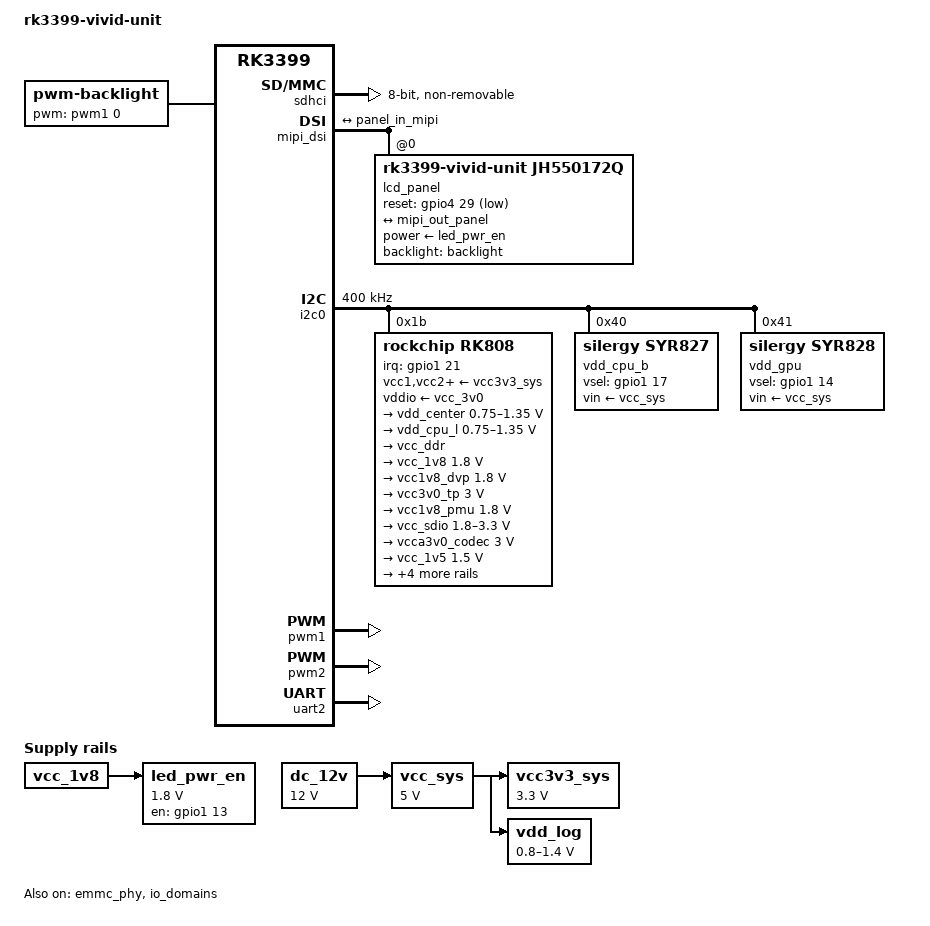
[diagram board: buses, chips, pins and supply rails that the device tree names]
// SPDX-License-Identifier: (GPL-2.0+ OR MIT)
/*
 * Shared board-level description for Vivid Unit.
 *
 * This file intentionally contains only the pieces needed by BOTH:
 *   - Linux kernel runtime
 *   - U-Boot early boot / video console / MMC loading path
 *
 * U-Boot-only bits such as SDRAM params / vendor bootargs live in
 * rk3399-vivid-unit-u-boot.dtsi.
 * Linux-only runtime peripherals live in rk3399-vivid-unit-kernel.dtsi.
 */

/ {
	model = "rk3399-vivid-unit";
	compatible = "rockchip,rk3399-vivid-unit", "rockchip,rk3399";

	chosen {
		stdout-path = "serial2:115200n8";
	};

	backlight: backlight {
		compatible = "pwm-backlight";
		brightness-levels = <
			  0   1   2   3   4   5   6   7
			  8   9  10  11  12  13  14  15
			 16  17  18  19  20  21  22  23
			 24  25  26  27  28  29  30  31
			 32  33  34  35  36  37  38  39
			 40  41  42  43  44  45  46  47
			 48  49  50  51  52  53  54  55
			 56  57  58  59  60  61  62  63
			 64  65  66  67  68  69  70  71
			 72  73  74  75  76  77  78  79
			 80  81  82  83  84  85  86  87
			 88  89  90  91  92  93  94  95
			 96  97  98  99 100 101 102 103
			104 105 106 107 108 109 110 111
			112 113 114 115 116 117 118 119
			120 121 122 123 124 125 126 127
			128 129 130 131 132 133 134 135
			136 137 138 139 140 141 142 143
			144 145 146 147 148 149 150 151
			152 153 154 155 156 157 158 159
			160 161 162 163 164 165 166 167
			168 169 170 171 172 173 174 175
			176 177 178 179 180 181 182 183
			184 185 186 187 188 189 190 191
			192 193 194 195 196 197 198 199
			200 201 202 203 204 205 206 207
			208 209 210 211 212 213 214 215
			216 217 218 219 220 221 222 223
			224 225 226 227 228 229 230 231
			232 233 234 235 236 237 238 239
			240 241 242 243 244 245 246 247
			248 249 250 251 252 253 254 255>;
		default-brightness-level = <200>;
		pwms = <&pwm0 0 25000 0>;
	};

	dc_12v: dc-12v {
		compatible = "regulator-fixed";
		regulator-name = "dc_12v";
		regulator-always-on;
		regulator-boot-on;
		regulator-min-microvolt = <12000000>;
		regulator-max-microvolt = <12000000>;
	};

	/* display power enable GPIO as regulator */
	led_pwr_en: led-pwr-en {
		compatible = "regulator-fixed";
		enable-active-high;
		gpio = <&gpio1 13 GPIO_ACTIVE_HIGH>;
		pinctrl-names = "default";
		pinctrl-0 = <&led_pwr_io>;
		regulator-always-on;
		regulator-max-microvolt = <1800000>;
		regulator-min-microvolt = <1800000>;
		regulator-name = "led_pwr_en";
		vin-supply = <&vcc_1v8>;
	};

	vcc3v3_sys: vcc3v3-sys {
		compatible = "regulator-fixed";
		regulator-name = "vcc3v3_sys";
		regulator-always-on;
		regulator-boot-on;
		regulator-min-microvolt = <3300000>;
		regulator-max-microvolt = <3300000>;
		vin-supply = <&vcc_sys>;
	};

	vcc_sys: vcc-sys {
		compatible = "regulator-fixed";
		regulator-name = "vcc_sys";
		regulator-always-on;
		regulator-boot-on;
		regulator-min-microvolt = <5000000>;
		regulator-max-microvolt = <5000000>;
		vin-supply = <&dc_12v>;
	};

	vdd_log: vdd-log {
		compatible = "pwm-regulator";
		pwms = <&pwm2 0 25000 1>;
		regulator-name = "vdd_log";
		regulator-always-on;
		regulator-boot-on;
		regulator-min-microvolt = <800000>;
		regulator-max-microvolt = <1400000>;
		vin-supply = <&vcc_sys>;
	};

	display_subsystem: display-subsystem {
		compatible = "rockchip,display-subsystem";
		ports = <&vopl_out>, <&vopb_out>;
		clocks = <&cru PLL_VPLL>, <&cru PLL_CPLL>;
		clock-names = "hdmi-tmds-pll", "default-vop-pll";
		devfreq = <&dmc>;
		status = "disabled";
	};
};

&sdhci {
	assigned-clock-rates = <150000000>;
	bus-width = <8>;
	mmc-hs400-1_8v;
	no-sdio;
	no-sd;
	non-removable;
	keep-power-in-suspend;
	mmc-hs400-enhanced-strobe;
	status = "okay";
};

&backlight {
	status = "okay";
	default-brightness-level = <248>;       /* 97% */
	pwms = <&pwm1 0 1000000 0>;
};

/*
 * Shared DSI/panel description used by both Linux and U-Boot.
 *
 * Keep the panel node and basic DSI host enabled here, but do NOT choose
 * which VOP feeds the panel in this common file. The actual VOP -> DSI route
 * is selected separately in:
 *   - rk3399-vivid-unit-kernel.dtsi  (Linux runtime path)
 *   - rk3399-vivid-unit-u-boot.dtsi  (U-Boot early display path)
 */
&mipi_out {
	status = "okay";
};

&mipi_dsi {
	status = "okay";
	#address-cells = <1>;
	#size-cells = <0>;

	lcd_panel: panel@0 {
		status = "okay";
		compatible = "rk3399-vivid-unit,jh550172q";
		reg = <0>;
		reset-gpios = <&gpio4 29 GPIO_ACTIVE_LOW>;
		backlight = <&backlight>;
		power-supply = <&led_pwr_en>;

		port {
			panel_in_mipi: endpoint {
				remote-endpoint = <&mipi_out_panel>;
			};
		};
	};

	ports {
		port@1 {
			reg = <1>;
			mipi_out_panel: endpoint {
				remote-endpoint = <&panel_in_mipi>;
			};
		};
	};
};

&emmc_phy {
	status = "okay";
};

&i2c0 {
	clock-frequency = <400000>;
	i2c-scl-rising-time-ns = <168>;
	i2c-scl-falling-time-ns = <4>;
	status = "okay";

	rk808: pmic@1b {
		compatible = "rockchip,rk808";
		reg = <0x1b>;
		interrupt-parent = <&gpio1>;
		interrupts = <21 IRQ_TYPE_LEVEL_LOW>;
		#clock-cells = <1>;
		clock-output-names = "xin32k", "rk808-clkout2";
		pinctrl-names = "default";
		pinctrl-0 = <&pmic_int_l &pmic_dvs2>;
		rockchip,system-power-controller;
		wakeup-source;

		vcc1-supply = <&vcc3v3_sys>;
		vcc2-supply = <&vcc3v3_sys>;
		vcc3-supply = <&vcc3v3_sys>;
		vcc4-supply = <&vcc3v3_sys>;
		vcc6-supply = <&vcc3v3_sys>;
		vcc7-supply = <&vcc3v3_sys>;
		vcc8-supply = <&vcc3v3_sys>;
		vcc9-supply = <&vcc3v3_sys>;
		vcc10-supply = <&vcc3v3_sys>;
		vcc11-supply = <&vcc3v3_sys>;
		vcc12-supply = <&vcc3v3_sys>;
		vddio-supply = <&vcc_3v0>;

		regulators {
			vdd_center: DCDC_REG1 {
				regulator-name = "vdd_center";
				regulator-always-on;
				regulator-boot-on;
				regulator-min-microvolt = <750000>;
				regulator-max-microvolt = <1350000>;
				regulator-ramp-delay = <6001>;
				regulator-state-mem {
					regulator-off-in-suspend;
				};
			};

			vdd_cpu_l: DCDC_REG2 {
				regulator-name = "vdd_cpu_l";
				regulator-always-on;
				regulator-boot-on;
				regulator-min-microvolt = <750000>;
				regulator-max-microvolt = <1350000>;
				regulator-ramp-delay = <6001>;
				regulator-state-mem {
					regulator-off-in-suspend;
				};
			};

			vcc_ddr: DCDC_REG3 {
				regulator-name = "vcc_ddr";
				regulator-always-on;
				regulator-boot-on;
				regulator-state-mem {
					regulator-on-in-suspend;
				};
			};

			vcc_1v8: DCDC_REG4 {
				regulator-name = "vcc_1v8";
				regulator-always-on;
				regulator-boot-on;
				regulator-min-microvolt = <1800000>;
				regulator-max-microvolt = <1800000>;
				regulator-state-mem {
					regulator-on-in-suspend;
					regulator-suspend-microvolt = <1800000>;
				};
			};

			vcc1v8_dvp: LDO_REG1 {
				regulator-name = "vcc1v8_dvp";
				regulator-always-on;
				regulator-boot-on;
				regulator-min-microvolt = <1800000>;
				regulator-max-microvolt = <1800000>;
				regulator-state-mem {
					regulator-off-in-suspend;
				};
			};

			vcc3v0_tp: LDO_REG2 {
				regulator-name = "vcc3v0_tp";
				regulator-always-on;
				regulator-boot-on;
				regulator-min-microvolt = <3000000>;
				regulator-max-microvolt = <3000000>;
				regulator-state-mem {
					regulator-off-in-suspend;
				};
			};

			vcc1v8_pmu: LDO_REG3 {
				regulator-name = "vcc1v8_pmu";
				regulator-always-on;
				regulator-boot-on;
				regulator-min-microvolt = <1800000>;
				regulator-max-microvolt = <1800000>;
				regulator-state-mem {
					regulator-on-in-suspend;
					regulator-suspend-microvolt = <1800000>;
				};
			};

			vcc_sdio: LDO_REG4 {
				regulator-name = "vcc_sdio";
				regulator-always-on;
				regulator-boot-on;
				regulator-min-microvolt = <1800000>;
				regulator-max-microvolt = <3300000>;
				regulator-state-mem {
					regulator-on-in-suspend;
					regulator-suspend-microvolt = <3000000>;
				};
			};

			vcca3v0_codec: LDO_REG5 {
				regulator-name = "vcca3v0_codec";
				regulator-always-on;
				regulator-boot-on;
				regulator-min-microvolt = <3000000>;
				regulator-max-microvolt = <3000000>;
				regulator-state-mem {
					regulator-off-in-suspend;
				};
			};

			vcc_1v5: LDO_REG6 {
				regulator-name = "vcc_1v5";
				regulator-always-on;
				regulator-boot-on;
				regulator-min-microvolt = <1500000>;
				regulator-max-microvolt = <1500000>;
				regulator-state-mem {
					regulator-on-in-suspend;
					regulator-suspend-microvolt = <1500000>;
				};
			};

			vcca1v8_codec: LDO_REG7 {
				regulator-name = "vcca1v8_codec";
				regulator-always-on;
				regulator-boot-on;
				regulator-min-microvolt = <1800000>;
				regulator-max-microvolt = <1800000>;
				regulator-state-mem {
					regulator-off-in-suspend;
				};
			};

			vcc_3v0: LDO_REG8 {
				regulator-name = "vcc_3v0";
				regulator-always-on;
				regulator-boot-on;
				regulator-min-microvolt = <3000000>;
				regulator-max-microvolt = <3000000>;
				regulator-state-mem {
					regulator-on-in-suspend;
					regulator-suspend-microvolt = <3000000>;
				};
			};

			vcc3v3_s3: vcc_lan: SWITCH_REG1 {
				regulator-name = "vcc3v3_s3";
				regulator-always-on;
				regulator-boot-on;
				regulator-state-mem {
					regulator-off-in-suspend;
				};
			};

			vcc3v3_s0: SWITCH_REG2 {
				regulator-name = "vcc3v3_s0";
				regulator-always-on;
				regulator-boot-on;
				regulator-state-mem {
					regulator-off-in-suspend;
				};
			};
		};
	};

	vdd_cpu_b: regulator@40 {
		compatible = "silergy,syr827";
		reg = <0x40>;
		fcs,suspend-voltage-selector = <1>;
		regulator-compatible = "fan53555-reg";
		pinctrl-names = "default";
		pinctrl-0 = <&vsel1_gpio>;
		vsel-gpios = <&gpio1 17 GPIO_ACTIVE_HIGH>;
		regulator-initial-state = <3>;
		regulator-name = "vdd_cpu_b";
		regulator-min-microvolt = <712500>;
		regulator-max-microvolt = <1500000>;
		regulator-ramp-delay = <1000>;
		regulator-always-on;
		regulator-boot-on;
		vin-supply = <&vcc_sys>;

		regulator-state-mem {
			regulator-off-in-suspend;
		};
	};

	vdd_gpu: regulator@41 {
		compatible = "silergy,syr828";
		reg = <0x41>;
		regulator-compatible = "fan53555-reg";
		pinctrl-names = "default";
		pinctrl-0 = <&vsel2_gpio>;
		vsel-gpios = <&gpio1 14 GPIO_ACTIVE_HIGH>;
		regulator-initial-state = <3>;
		fcs,suspend-voltage-selector = <1>;
		regulator-name = "vdd_gpu";
		regulator-min-microvolt = <712500>;
		regulator-max-microvolt = <1500000>;
		regulator-ramp-delay = <1000>;
		regulator-always-on;
		regulator-boot-on;
		vin-supply = <&vcc_sys>;

		regulator-state-mem {
			regulator-off-in-suspend;
		};
	};
};

&io_domains {
	status = "okay";
	bt656-supply = <&vcc_1v8>;
	audio-supply = <&vcca1v8_codec>;
	sdmmc-supply = <&vcc_sdio>;
	gpio1830-supply = <&vcc_3v0>;
};

&pmu_io_domains {
	pmu1830-supply = <&vcc_3v0>;
	status = "okay";
};

&pwm1 {
	status = "okay";
};

&pwm2 {
	status = "okay";
	pinctrl-names = "active";
	pinctrl-0 = <&pwm2_pin_pull_down>;
};

&uart2 {
	status = "okay";
};

&pinctrl {
	dmic {
		led_pwr_io: led-pwr-io {
			rockchip,pins = <1 13 RK_FUNC_GPIO &pcfg_pull_none>;
		};
	};

	pmic {
		pmic_int_l: pmic-int-l {
			rockchip,pins = <1 RK_PC5 RK_FUNC_GPIO &pcfg_pull_up>;
		};

		pmic_dvs2: pmic-dvs2 {
			rockchip,pins = <1 RK_PC2 RK_FUNC_GPIO &pcfg_pull_down>;
		};

		vsel1_gpio: vsel1-gpio {
			rockchip,pins = <1 RK_PC1 RK_FUNC_GPIO &pcfg_pull_down>;
		};

		vsel2_gpio: vsel2-gpio {
			rockchip,pins = <1 RK_PB6 RK_FUNC_GPIO &pcfg_pull_down>;
		};
	};
};
